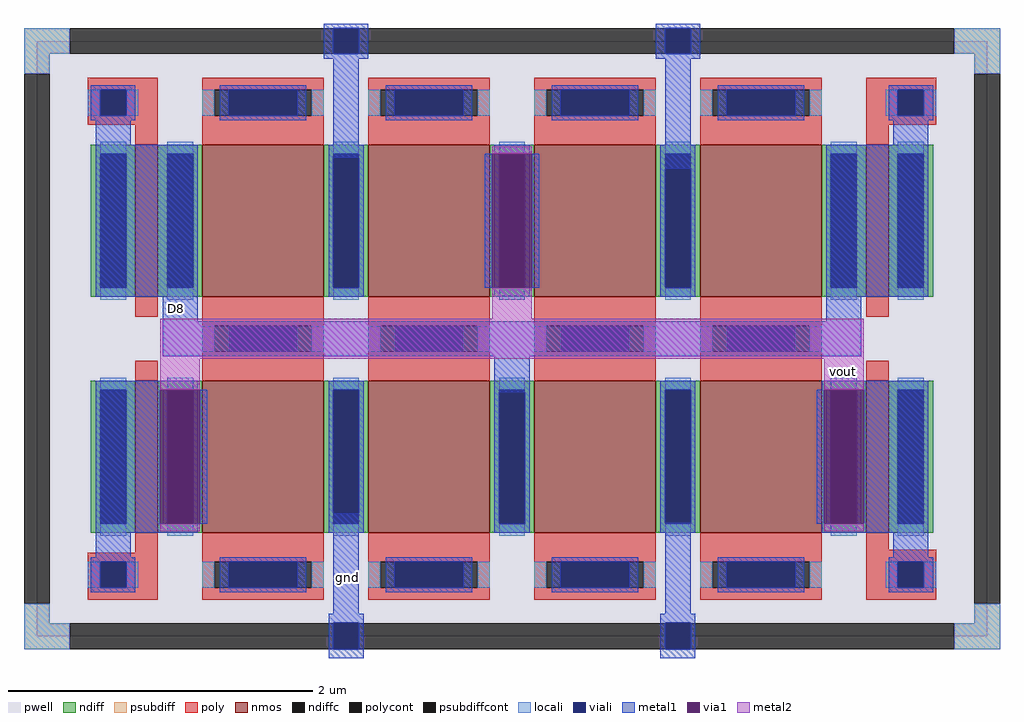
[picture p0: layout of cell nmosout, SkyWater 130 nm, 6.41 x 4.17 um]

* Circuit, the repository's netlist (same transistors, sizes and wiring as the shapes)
** sch_path: /home/nsptrq/opamp/mag/nmosout.sch
.subckt nmosout vout D8 gnd
*.PININFO gnd:B vout:B D8:B
XM9 vout D8 gnd gnd sky130_fd_pr__nfet_01v8 L=0.8 W=1 nf=1 m=4
XM8 D8 D8 gnd gnd sky130_fd_pr__nfet_01v8 L=0.8 W=1 nf=1 m=4
XM1 vout vout vout gnd sky130_fd_pr__nfet_01v8 L=0.15 W=1 nf=1 m=2
XM2 D8 D8 D8 gnd sky130_fd_pr__nfet_01v8 L=0.15 W=1 nf=1 m=2
.ends
.end

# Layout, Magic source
magic
tech sky130A
magscale 1 2
<< pwell >>
rect -159 -48 1089 734
<< psubdiff >>
rect -176 717 -116 751
rect 1046 717 1106 751
rect -176 691 -142 717
rect 1072 691 1106 717
rect -176 -31 -142 -5
rect 1072 -31 1106 -5
rect -176 -65 -116 -31
rect 1046 -65 1106 -31
<< psubdiffcont >>
rect -116 717 1046 751
rect -176 -5 -142 691
rect 1072 -5 1106 691
rect -116 -65 1046 -31
<< poly >>
rect -92 670 0 686
rect -92 636 -76 670
rect -42 636 0 670
rect -92 624 0 636
rect 930 670 1022 686
rect 930 636 972 670
rect 1006 636 1022 670
rect 930 624 1022 636
rect -92 50 0 62
rect -92 16 -76 50
rect -42 16 0 50
rect -92 0 0 16
rect 930 50 1022 66
rect 930 16 972 50
rect 1006 16 1022 50
rect 930 0 1022 16
<< polycont >>
rect -76 636 -42 670
rect 972 636 1006 670
rect -76 16 -42 50
rect 972 16 1006 50
<< locali >>
rect -176 717 -116 751
rect 1046 717 1106 751
rect -176 691 -142 717
rect 1072 691 1106 717
rect -92 636 -76 670
rect -42 636 -26 670
rect 956 636 972 670
rect 1006 636 1022 670
rect -92 16 -76 50
rect -42 16 -26 50
rect 956 16 972 50
rect 1006 16 1022 50
rect -176 -31 -142 -5
rect 1072 -31 1106 -5
rect -176 -65 -116 -31
rect 1046 -65 1106 -31
<< viali >>
rect 230 717 264 751
rect 666 717 700 751
rect -76 636 -42 670
rect 972 636 1006 670
rect -76 16 -42 50
rect 972 16 1006 50
rect 230 -31 264 -30
rect 666 -31 700 -30
rect 230 -65 264 -31
rect 666 -65 700 -31
<< metal1 >>
rect 218 751 276 757
rect 218 717 230 751
rect 264 717 276 751
rect 218 711 276 717
rect 654 751 712 757
rect 654 717 666 751
rect 700 717 712 751
rect 654 711 712 717
rect -88 670 -30 676
rect -88 636 -76 670
rect -42 636 -30 670
rect -88 630 -30 636
rect -82 598 -36 630
rect -82 398 52 598
rect 230 581 264 711
rect 429 410 439 586
rect 491 410 501 586
rect 666 566 700 711
rect 960 670 1018 676
rect 960 636 972 670
rect 1006 636 1018 670
rect 960 630 1018 636
rect 966 598 1012 630
rect 6 366 52 398
rect 878 398 1012 598
rect 878 366 924 398
rect 6 320 924 366
rect -82 276 52 288
rect -82 100 3 276
rect 55 100 65 276
rect 442 273 488 320
rect 872 276 1012 288
rect -82 88 52 100
rect -82 56 -36 88
rect -88 50 -30 56
rect -88 16 -76 50
rect -42 16 -30 50
rect -88 10 -30 16
rect 230 -18 264 114
rect 666 -18 700 101
rect 865 100 875 276
rect 927 100 1012 276
rect 872 88 1012 100
rect 966 56 1012 88
rect 960 50 1018 56
rect 960 16 972 50
rect 1006 16 1018 50
rect 960 10 1018 16
rect 224 -30 270 -18
rect 224 -65 230 -30
rect 264 -65 270 -30
rect 224 -77 270 -65
rect 660 -30 706 -18
rect 660 -65 666 -30
rect 700 -65 706 -30
rect 660 -77 706 -65
<< via1 >>
rect 439 410 491 586
rect 3 100 55 276
rect 875 100 927 276
<< metal2 >>
rect 439 586 491 596
rect 439 369 491 410
rect 3 317 927 369
rect 3 276 55 317
rect 3 90 55 100
rect 875 276 927 317
rect 875 90 927 100
use sky130_fd_pr__nfet_01v8_6H9P4D  sky130_fd_pr__nfet_01v8_6H9P4D_1
transform 1 0 -15 0 1 188
box -73 -126 73 126
use sky130_fd_pr__nfet_01v8_6H9P4D  sky130_fd_pr__nfet_01v8_6H9P4D_2
transform 1 0 -15 0 1 498
box -73 -126 73 126
use sky130_fd_pr__nfet_01v8_6H9P4D  sky130_fd_pr__nfet_01v8_6H9P4D_3
transform 1 0 945 0 1 498
box -73 -126 73 126
use sky130_fd_pr__nfet_01v8_6H9P4D  sky130_fd_pr__nfet_01v8_6H9P4D_4
transform 1 0 945 0 1 188
box -73 -126 73 126
use sky130_fd_pr__nfet_01v8_YYNGNX  sky130_fd_pr__nfet_01v8_YYNGNX_0
transform 1 0 465 0 1 343
box -465 -343 465 343
<< labels >>
flabel metal2 900 300 900 300 0 FreeSans 1600 0 0 0 vout
port 0 nsew
flabel metal1 249 30 249 30 0 FreeSans 1600 0 0 0 gnd
port 1 nsew
flabel metal1 24 383 24 383 0 FreeSans 1600 0 0 0 D8
port 2 nsew
<< end >>

# cell sky130_fd_pr__nfet_01v8_6H9P4D: kit device sky130_fd_pr__nfet_01v8, w 1 l 0.150 m 1 nf 1 diffcov 100 polycov 100 guard 0 glc 1 grc 1 gtc 1 gbc 1 tbcov 100 rlcov 100 topc 0 botc 0 poverlap 0 doverlap 1 lmin 0.15 wmin 0.42 compatible {sky130_fd_pr__nfet_01v8 sky130_fd_pr__nfet_01v8_lvt sky130_fd_bs_flash__special_sonosfet_star sky130_fd_pr__nfet_g5v0d10v5 sky130_fd_pr__nfet_05v0_nvt sky130_fd_pr__nfet_03v3_nvt} full_metal 1 viasrc 100 viadrn 100 viagate 100 viagb 0 viagr 0 viagl 0 viagt 0

# cell sky130_fd_pr__nfet_01v8_YYNGNX: kit device sky130_fd_pr__nfet_01v8, w 1 l 0.8 m 2 nf 4 diffcov 100 polycov 100 guard 0 glc 1 grc 1 gtc 1 gbc 1 tbcov 100 rlcov 100 topc 1 botc 1 poverlap 1 doverlap 1 lmin 0.15 wmin 0.42 compatible {sky130_fd_pr__nfet_01v8 sky130_fd_pr__nfet_01v8_lvt sky130_fd_bs_flash__special_sonosfet_star sky130_fd_pr__nfet_g5v0d10v5 sky130_fd_pr__nfet_05v0_nvt sky130_fd_pr__nfet_03v3_nvt} full_metal 1 viasrc 100 viadrn 100 viagate 70 viagb 0 viagr 0 viagl 0 viagt 0
